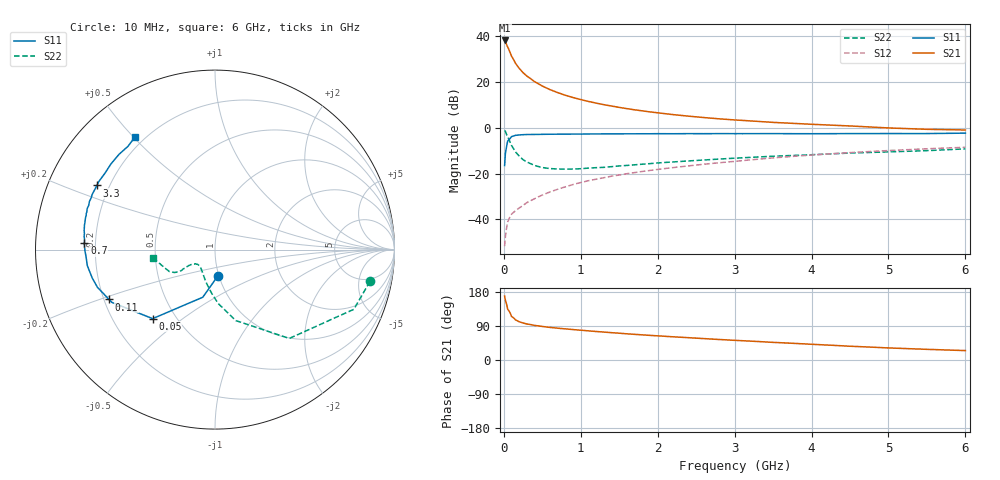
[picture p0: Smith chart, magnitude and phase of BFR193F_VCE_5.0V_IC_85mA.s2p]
! Infineon Technologies  Discrete & RF Semiconductors
! BFR193F
! VCE =  5.0 V,  IC =  85 mA
! Common Emitter S-Parameters:  Jan 2017
# GHz  S  MA  R  50
!  f  S11  S21  S12  S22
! GHz  MAG  ANG  MAG  ANG  MAG  ANG  MAG  ANG
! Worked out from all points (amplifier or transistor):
!   77 points, 10 MHz to 6 GHz, reference 50 ohm
!   highest |S21| = 38.2 dB at 10 MHz (marker M1)
!   |S21| within 3 dB of that: start of sweep to 51.91 MHz
!   unconditionally stable (mu >= 1): 532.1 MHz to 2.525 GHz
!   at 130 MHz: K = 0.61, MSG = 33.2 dB, |S12| = -36.8 dB
!   at 2.2 GHz: K = 1.02, MAG = 10.7 dB, |S12| = -17.4 dB
!   at 6 GHz: K = 0.86, MSG = 3.8 dB, |S12| = -8.5 dB
!   S11 on the Smith chart (normalised r, x): 10 MHz: 0.98, -0.30; 50 MHz: 0.37, -0.39; 110 MHz: 0.22, -0.21; 700 MHz: 0.16, +0.02; 3.3 GHz: 0.15, +0.25; 6 GHz: 0.16, +0.50
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0.01  0.15 -84.6  81.52 168.8  0.0026 79.2  0.8815 -11.6
0.02  0.2742 -104.4  77.52 157.7  0.0041 72.7  0.8418 -23.3
0.05  0.5185 -132.1  58.64 134.1  0.0088 58.4  0.6452 -50.1
0.1  0.6454 -152.9  36.93 114.9  0.013 52.3  0.4119 -73.7
0.11  0.6524 -154.8  34.71 113.6  0.0135 53.0  0.3884 -75.7
0.15  0.6875 -162.1  26.09 106.2  0.0154 55.4  0.301 -86.6
0.2  0.7021 -167.0  19.97 101.0  0.0178 59.6  0.242 -94.7
0.25  0.711 -170.8  16.12 97.6  0.0202 61.8  0.202 -102.1
0.3  0.717 -172.9  13.54 95.0  0.0233 64.5  0.1798 -107.5
0.4  0.7191 -176.5  10.22 91.2  0.0284 68.2  0.1505 -116.4
0.5  0.7236 -179.0  8.213 88.5  0.0341 70.6  0.136 -123.1
0.6  0.7272 178.9  6.872 86.0  0.0398 72.3  0.129 -128.4
0.7  0.7288 177.2  5.902 83.9  0.0456 73.1  0.1266 -132.4
0.9  0.733 174.1  4.609 80.3  0.0579 75.3  0.1261 -138.6
1.1  0.7369 171.7  3.788 76.9  0.0701 75.8  0.1322 -142.1
1.5  0.7418 167.3  2.807 70.7  0.0935 76.5  0.1473 -146.7
2.1  0.7466 161.5  2.043 62.5  0.1296 75.7  0.1758 -148.6
3.1  0.7488 153.2  1.458 50.9  0.1924 73.3  0.2222 -148.2
3.3  0.7491 151.5  1.388 48.8  0.2066 72.5  0.2311 -148.5
4.1  0.7469 144.3  1.18 40.5  0.2616 68.7  0.2637 -151.3
5.1  0.7527 134.2  0.984 31.1  0.3257 62.6  0.3027 -161.6
6  0.7688 125.6  0.901 24.8  0.377 56.9  0.3481 -172.0
